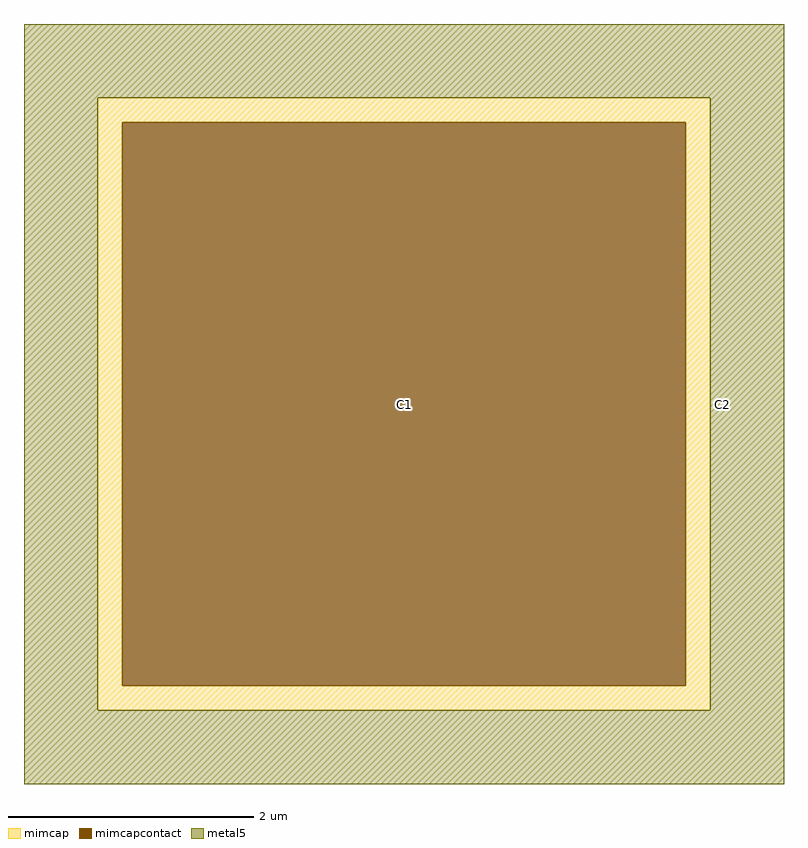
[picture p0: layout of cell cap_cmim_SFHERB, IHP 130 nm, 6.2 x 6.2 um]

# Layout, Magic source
magic
tech ihp-sg13g2
<< metal5 >>
rect -310 250 310 310
rect -310 -250 -250 250
rect 250 -250 310 250
rect -310 -310 310 -250
<< mimcap >>
rect -250 230 250 250
rect -250 -230 -230 230
rect 230 -230 250 230
rect -250 -250 250 -230
<< mimcapcontact >>
rect -230 -230 230 230
<< labels >>
rlabel mimcapcontact 0 0 0 0 0 C1
port 1 nsew
rlabel metal5 260 0 260 0 0 C2
port 2 nsew
<< properties >>
string FIXED_BBOX -310 -310 310 310
string gencell cap_cmim
string library sg13g2
string parameters w 5 l 5 val 41.3 carea 1.50 cperi 0.19 class capacitor compatible {cap_cmim cap_rfcmim} nx 1 ny 1 dummy 0 square 0 lmin 2.00 wmin 2.00 lmax 30.0 wmax 30.0 dc 0 tabwidth 1.0 upcontact 0 bconnect 1 tconnect 1 ccov 100 doports 1
<< end >>
